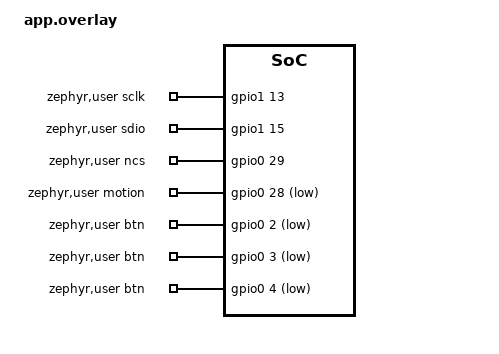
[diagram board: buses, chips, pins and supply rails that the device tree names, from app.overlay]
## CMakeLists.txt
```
# マウス側（Seeed XIAO nRF52840）：PMW3610 + ボタン → ESB送信
cmake_minimum_required(VERSION 3.20.0)
find_package(Zephyr REQUIRED HINTS $ENV{ZEPHYR_BASE})
project(mouse_tx)

target_include_directories(app PRIVATE ${CMAKE_CURRENT_SOURCE_DIR}/../common)
target_sources(app PRIVATE src/main.c src/pmw3610_bb.c)
```

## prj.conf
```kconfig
# ---- 無線（ESB） ----
CONFIG_ESB=y
CONFIG_CLOCK_CONTROL=y
CONFIG_ESB_CLOCK_INIT=y

# ---- GPIO（センサはGPIOのビットバンで読む／ボタン／LED） ----
CONFIG_GPIO=y

# ---- ログ（XIAOのUSBシリアル＝COMポートに出る） ----
CONFIG_LOG=y
CONFIG_LOG_MODE_DEFERRED=y
```

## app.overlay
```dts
/*
 * マウス側のピン割り当て（Hardware.md §2 と同じ配線）
 *   PMW3610基板 J1-5 SCLK → D8 (P1.13)
 *   PMW3610基板 J1-6 SDIO → D10(P1.15)
 *   PMW3610基板 J1-7 MOT  → D2 (P0.28)
 *   PMW3610基板 J1-8 NCS  → D3 (P0.29)
 *   左クリック  D0 (P0.02) / 右クリック D1 (P0.03) / 中クリック D4 (P0.04)
 *     → タクトスイッチの反対側はGND（内部プルアップ）。未接続でもOK
 */
/ {
	zephyr,user {
		sclk-gpios   = <&gpio1 13 GPIO_ACTIVE_HIGH>;
		sdio-gpios   = <&gpio1 15 GPIO_ACTIVE_HIGH>;
		ncs-gpios    = <&gpio0 29 GPIO_ACTIVE_HIGH>;
		motion-gpios = <&gpio0 28 (GPIO_ACTIVE_LOW | GPIO_PULL_UP)>;
		btn-gpios    = <&gpio0 2 (GPIO_ACTIVE_LOW | GPIO_PULL_UP)>,
			       <&gpio0 3 (GPIO_ACTIVE_LOW | GPIO_PULL_UP)>,
			       <&gpio0 4 (GPIO_ACTIVE_LOW | GPIO_PULL_UP)>;
	};
};

/* D8/D9/D10 は標準でSPI2に割り当てられているが、今回はGPIOで直接使う */
&spi2 {
	status = "disabled";
};
```

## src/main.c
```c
/*
 * マウス側（Seeed XIAO nRF52840）
 *   PMW3610の動き量とボタン状態を、ESBでドングルへ送る
 *
 *   ・1ms周期でMOTピンを確認し、動きがあれば動き量を読んで溜めておく
 *   ・前の送信が終わっていれば、溜まった分をまとめて1パケットで送る
 *   ・送信失敗（ドングルから応答なし）のときは、その分を戻して次回また送る
 *
 *   LED：緑＝送信成功のたびに点滅、赤＝送信失敗中（ドングルが見つからない）
 */
#include <zephyr/kernel.h>
#include <zephyr/drivers/gpio.h>
#include <zephyr/logging/log.h>
#include <zephyr/sys/byteorder.h>
#include <esb.h>

#include "pmw3610_bb.h"
#include "tb_protocol.h"

LOG_MODULE_REGISTER(mouse_tx, LOG_LEVEL_INF);

/* ===== 調整用 ===== */
#define SENSOR_CPI        800    /* 200〜3200（200刻み） */
#define INVERT_X          0      /* カーソルの左右が逆なら 1 */
#define INVERT_Y          0      /* カーソルの上下が逆なら 1 */
#define SWAP_XY           0      /* 縦横が入れ替わっているなら 1 */
#define LOOP_PERIOD_MS    1      /* センサ確認の周期 */
#define DEBOUNCE_COUNT    5      /* ボタンが同じ状態で何回続いたら確定するか（×周期） */
/* ================== */

#define USER_NODE DT_PATH(zephyr_user)

static const struct gpio_dt_spec btns[] = {
	GPIO_DT_SPEC_GET_BY_IDX(USER_NODE, btn_gpios, 0),   /* 左 */
	GPIO_DT_SPEC_GET_BY_IDX(USER_NODE, btn_gpios, 1),   /* 右 */
	GPIO_DT_SPEC_GET_BY_IDX(USER_NODE, btn_gpios, 2),   /* 中 */
};
static const struct gpio_dt_spec led_red   = GPIO_DT_SPEC_GET(DT_ALIAS(led0), gpios);
static const struct gpio_dt_spec led_green = GPIO_DT_SPEC_GET(DT_ALIAS(led1), gpios);

/* ---- ESBイベント（割り込みから呼ばれる）→ メインループへ結果だけ渡す ---- */
enum tx_state { TX_IDLE, TX_BUSY, TX_DONE_OK, TX_DONE_FAIL };
static atomic_t tx_state = ATOMIC_INIT(TX_IDLE);

static void on_esb_event(const struct esb_evt *event)
{
	struct esb_payload rx;

	switch (event->evt_id) {
	case ESB_EVENT_TX_SUCCESS:
		atomic_set(&tx_state, TX_DONE_OK);
		break;
	case ESB_EVENT_TX_FAILED:
		atomic_set(&tx_state, TX_DONE_FAIL);
		break;
	case ESB_EVENT_RX_RECEIVED:
		/* ACKに付いてくるデータは今は使わないので読み捨てる */
		while (esb_read_rx_payload(&rx) == 0) {
		}
		break;
	default:
		break;
	}
}

static int esb_setup(void)
{
	const uint8_t base0[4] = TB_BASE_ADDR_0;
	const uint8_t base1[4] = TB_BASE_ADDR_1;
	const uint8_t prefix[8] = TB_ADDR_PREFIX;
	struct esb_config config = ESB_DEFAULT_CONFIG;
	int err;

	config.protocol = ESB_PROTOCOL_ESB_DPL;
	config.mode = ESB_MODE_PTX;
	config.bitrate = ESB_BITRATE_2MBPS;
	config.retransmit_delay = 600;
	config.retransmit_count = 3;
	config.tx_mode = ESB_TXMODE_AUTO;
	config.selective_auto_ack = false;   /* 全パケットで受信確認（ACK）をもらう */
	config.event_handler = on_esb_event;

	err = esb_init(&config);
	if (!err) {
		err = esb_set_base_address_0(base0);
	}
	if (!err) {
		err = esb_set_base_address_1(base1);
	}
	if (!err) {
		err = esb_set_prefixes(prefix, ARRAY_SIZE(prefix));
	}
	if (!err) {
		err = esb_set_rf_channel(TB_RF_CHANNEL);
	}
	return err;
}

static int16_t clamp16(int32_t v)
{
	if (v > INT16_MAX) {
		return INT16_MAX;
	}
	if (v < INT16_MIN) {
		return INT16_MIN;
	}
	return (int16_t)v;
}

int main(void)
{
	int err;
	int32_t acc_dx = 0, acc_dy = 0;          /* まだ送っていない動き量 */
	int16_t inflight_dx = 0, inflight_dy = 0; /* 送信中のパケットの動き量 */
	uint8_t btn_stable = 0, btn_last_raw = 0, btn_sent = 0xFF;
	uint8_t btn_count = 0;
	uint8_t seq = 0;
	bool link_ok = true;
	int64_t tx_start_ms = 0;
	int64_t next_tx_ms = 0;   /* 送信失敗中は100msおきにだけ再送する */

	LOG_INF("Trackball mouse (XIAO nRF52840 / ESB PTX) start");

	gpio_pin_configure_dt(&led_red, GPIO_OUTPUT_INACTIVE);
	gpio_pin_configure_dt(&led_green, GPIO_OUTPUT_INACTIVE);
	for (size_t i = 0; i < ARRAY_SIZE(btns); i++) {
		gpio_pin_configure_dt(&btns[i], GPIO_INPUT);
	}

	err = pmw3610_init(SENSOR_CPI);
	if (err) {
		LOG_ERR("PMW3610 init failed (%d). Check wiring / power.", err);
		gpio_pin_set_dt(&led_red, 1);     /* 赤点灯のまま停止 */
		return 0;
	}

	err = esb_setup();
	if (err) {
		LOG_ERR("ESB init failed (%d)", err);
		gpio_pin_set_dt(&led_red, 1);
		return 0;
	}
	LOG_INF("ESB ready, channel %d", TB_RF_CHANNEL);

	while (1) {
		/* ---- 1) センサ ---- */
		if (pmw3610_motion_pending()) {
			int16_t dx, dy;

			if (pmw3610_read_motion(&dx, &dy)) {
#if SWAP_XY
				int16_t t = dx; dx = dy; dy = t;
#endif
#if INVERT_X
				dx = -dx;
#endif
#if INVERT_Y
				dy = -dy;
#endif
				acc_dx += dx;
				acc_dy += dy;
			}
		}

		/* ---- 2) ボタン（簡易チャタリング除去） ---- */
		uint8_t raw = 0;

		for (size_t i = 0; i < ARRAY_SIZE(btns); i++) {
			if (gpio_pin_get_dt(&btns[i]) == 1) {
				raw |= BIT(i);
			}
		}
		if (raw == btn_last_raw) {
			if (btn_count < DEBOUNCE_COUNT) {
				btn_count++;
			} else {
				btn_stable = raw;
			}
		} else {
			btn_last_raw = raw;
			btn_count = 0;
		}

		/* ---- 3) 送信結果の処理 ---- */
		int st = atomic_get(&tx_state);

		/* 念のため：送信完了の通知が50ms来なければ失敗扱いにする */
		if (st == TX_BUSY && (k_uptime_get() - tx_start_ms) > 50) {
			atomic_cas(&tx_state, TX_BUSY, TX_DONE_FAIL);
			st = atomic_get(&tx_state);
		}

		if (st == TX_DONE_OK) {
			inflight_dx = inflight_dy = 0;
			if (!link_ok) {
				LOG_INF("Link recovered");
				link_ok = true;
				gpio_pin_set_dt(&led_red, 0);
			}
			gpio_pin_toggle_dt(&led_green);
			atomic_set(&tx_state, TX_IDLE);
		} else if (st == TX_DONE_FAIL) {
			/* 届かなかった分は戻して、次のパケットでまとめて送る */
			acc_dx += inflight_dx;
			acc_dy += inflight_dy;
			inflight_dx = inflight_dy = 0;
			btn_sent = 0xFF;                  /* ボタン状態も送り直す */
			(void)esb_flush_tx();
			next_tx_ms = k_uptime_get() + 100;
			if (link_ok) {
				LOG_WRN("TX failed (dongle not responding?)");
				link_ok = false;
				gpio_pin_set_dt(&led_red, 1);
			}
			atomic_set(&tx_state, TX_IDLE);
		}

		/* ---- 4) 送信 ---- */
		if (atomic_get(&tx_state) == TX_IDLE && k_uptime_get() >= next_tx_ms &&
		    (acc_dx != 0 || acc_dy != 0 || btn_stable != btn_sent)) {
			struct esb_payload pkt = {
				.pipe = TB_PIPE,
				.length = TB_PKT_LEN,
				.noack = false,
			};

			inflight_dx = clamp16(acc_dx);
			inflight_dy = clamp16(acc_dy);
			acc_dx -= inflight_dx;
			acc_dy -= inflight_dy;

			pkt.data[0] = TB_PKT_TYPE_MOUSE;
			pkt.data[1] = btn_stable;
			sys_put_le16((uint16_t)inflight_dx, &pkt.data[2]);
			sys_put_le16((uint16_t)inflight_dy, &pkt.data[4]);
			pkt.data[6] = 0;
			pkt.data[7] = seq++;

			atomic_set(&tx_state, TX_BUSY);
			tx_start_ms = k_uptime_get();
			err = esb_write_payload(&pkt);
			if (err) {
				/* FIFOが詰まっている等：戻して次回 */
				acc_dx += inflight_dx;
				acc_dy += inflight_dy;
				inflight_dx = inflight_dy = 0;
				(void)esb_flush_tx();
				atomic_set(&tx_state, TX_IDLE);
			} else {
				btn_sent = btn_stable;
			}
		}

		k_msleep(LOOP_PERIOD_MS);
	}
	return 0;
}
```

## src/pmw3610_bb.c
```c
/*
 * PMW3610 3線SPI（GPIOビットバン）
 *   SPI Mode 3（CPOL=1, CPHA=1）、MSB first、書き込みはアドレスbit7=1
 *   レジスタと初期化手順は Zephyr drivers/input/input_pmw3610.c に準拠
 */
#include "pmw3610_bb.h"

#include <errno.h>
#include <zephyr/kernel.h>
#include <zephyr/drivers/gpio.h>
#include <zephyr/logging/log.h>

LOG_MODULE_REGISTER(pmw3610_bb, LOG_LEVEL_INF);

#define USER_NODE DT_PATH(zephyr_user)

static const struct gpio_dt_spec sclk = GPIO_DT_SPEC_GET(USER_NODE, sclk_gpios);
static const struct gpio_dt_spec sdio = GPIO_DT_SPEC_GET(USER_NODE, sdio_gpios);
static const struct gpio_dt_spec ncs  = GPIO_DT_SPEC_GET(USER_NODE, ncs_gpios);
static const struct gpio_dt_spec mot  = GPIO_DT_SPEC_GET(USER_NODE, motion_gpios);

/* ---- レジスタ ---- */
#define REG_PROD_ID         0x00   /* 期待値 0x3E */
#define REG_REV_ID          0x01
#define REG_MOTION          0x02
#define REG_DELTA_X_L       0x03
#define REG_DELTA_Y_L       0x04
#define REG_DELTA_XY_H      0x05
#define REG_PERFORMANCE     0x11
#define REG_RUN_DOWNSHIFT   0x1B
#define REG_REST1_RATE      0x1C
#define REG_REST1_DOWNSHIFT 0x1D
#define REG_OBSERVATION1    0x2D
#define REG_POWER_UP_RESET  0x3A
#define REG_SPI_CLK_ON_REQ  0x41
#define REG_SPI_PAGE        0x7F   /* page0⇔page1 切替 */
#define REG_RES_STEP        0x05   /* page1 */

#define PRODUCT_ID          0x3E
#define CLK_ON              0xBA
#define CLK_OFF             0xB5
#define MOTION_MOT          BIT(7)

/* ---- ビットバンSPI ---- */
static inline void half_period(void)
{
	k_busy_wait(1);
}

static void send_byte(uint8_t v)
{
	gpio_pin_configure_dt(&sdio, GPIO_OUTPUT);
	for (int i = 7; i >= 0; i--) {
		gpio_pin_set_dt(&sclk, 0);          /* 立下りでデータを変える */
		gpio_pin_set_dt(&sdio, (v >> i) & 1);
		half_period();
		gpio_pin_set_dt(&sclk, 1);          /* 立上りでセンサが取り込む */
		half_period();
	}
}

static uint8_t recv_byte(void)
{
	uint8_t v = 0;

	gpio_pin_configure_dt(&sdio, GPIO_INPUT);
	for (int i = 7; i >= 0; i--) {
		gpio_pin_set_dt(&sclk, 0);          /* センサが立下りで出力 */
		half_period();
		gpio_pin_set_dt(&sclk, 1);          /* 立上りで読む */
		v |= (uint8_t)((gpio_pin_get_dt(&sdio) & 1) << i);
		half_period();
	}
	return v;
}

static uint8_t read_reg(uint8_t addr)
{
	uint8_t v;

	gpio_pin_set_dt(&ncs, 0);
	send_byte(addr & 0x7F);
	k_busy_wait(5);                             /* アドレス→データ間ウェイト */
	v = recv_byte();
	gpio_pin_set_dt(&ncs, 1);
	k_busy_wait(20);
	return v;
}

static void write_reg(uint8_t addr, uint8_t val)
{
	gpio_pin_set_dt(&ncs, 0);
	send_byte(addr | 0x80);
	send_byte(val);
	gpio_pin_set_dt(&ncs, 1);
	k_busy_wait(50);
}

static void clk_on(void)
{
	write_reg(REG_SPI_CLK_ON_REQ, CLK_ON);
	k_busy_wait(300);
}

static void clk_off(void)
{
	write_reg(REG_SPI_CLK_ON_REQ, CLK_OFF);
}

static void set_cpi(uint16_t cpi)
{
	uint8_t v;

	if (cpi < 200) {
		cpi = 200;
	} else if (cpi > 3200) {
		cpi = 3200;
	}

	clk_on();
	write_reg(REG_SPI_PAGE, 0xFF);              /* page1へ */
	v = read_reg(REG_RES_STEP);
	v = (v & ~0x1F) | (uint8_t)(cpi / 200);
	write_reg(REG_RES_STEP, v);
	write_reg(REG_SPI_PAGE, 0x00);              /* page0へ戻す */
	clk_off();
}

static int16_t sext12(uint16_t v)
{
	return (v & 0x800) ? (int16_t)(v | 0xF000) : (int16_t)v;
}

int pmw3610_init(uint16_t cpi)
{
	uint8_t pid, rev, obs;

	if (!gpio_is_ready_dt(&sclk) || !gpio_is_ready_dt(&sdio) ||
	    !gpio_is_ready_dt(&ncs) || !gpio_is_ready_dt(&mot)) {
		return -ENODEV;
	}

	gpio_pin_configure_dt(&ncs, GPIO_OUTPUT_HIGH);
	gpio_pin_configure_dt(&sclk, GPIO_OUTPUT_HIGH);  /* Mode3: アイドルHigh */
	gpio_pin_configure_dt(&sdio, GPIO_INPUT);
	gpio_pin_configure_dt(&mot, GPIO_INPUT);
	k_msleep(50);                                     /* 電源投入後の待ち */

	write_reg(REG_POWER_UP_RESET, 0x5A);              /* ソフトリセット */
	k_msleep(10);

	pid = read_reg(REG_PROD_ID);
	rev = read_reg(REG_REV_ID);
	LOG_INF("PMW3610 Product ID=0x%02X (expect 0x3E), Rev ID=0x%02X", pid, rev);
	if (pid != PRODUCT_ID) {
		return -ENODEV;
	}

	clk_on();
	write_reg(REG_OBSERVATION1, 0x00);
	k_msleep(10);
	obs = read_reg(REG_OBSERVATION1);
	LOG_INF("OBSERVATION1=0x%02X (low nibble must be 0xF)", obs);
	if ((obs & 0x0F) != 0x0F) {
		clk_off();
		return -EIO;
	}

	for (uint8_t r = REG_MOTION; r <= REG_DELTA_XY_H; r++) {
		(void)read_reg(r);                        /* 溜まった動き量をクリア */
	}

	write_reg(REG_PERFORMANCE, 0x0D);
	write_reg(REG_RUN_DOWNSHIFT, 0x04);
	write_reg(REG_REST1_RATE, 0x04);
	write_reg(REG_REST1_DOWNSHIFT, 0x0F);
	clk_off();

	set_cpi(cpi);
	LOG_INF("PMW3610 init OK, CPI=%u", cpi);
	return 0;
}

bool pmw3610_motion_pending(void)
{
	return gpio_pin_get_dt(&mot) == 1;                /* Active Low → 1=動きあり */
}

bool pmw3610_read_motion(int16_t *dx, int16_t *dy)
{
	uint8_t m = read_reg(REG_MOTION);                 /* 先にMOTIONを読む（Δがラッチされる） */

	if (!(m & MOTION_MOT)) {
		return false;
	}

	uint8_t xl = read_reg(REG_DELTA_X_L);
	uint8_t yl = read_reg(REG_DELTA_Y_L);
	uint8_t xyh = read_reg(REG_DELTA_XY_H);

	*dx = sext12((uint16_t)(((xyh << 4) & 0xF00) | xl));
	*dy = sext12((uint16_t)(((xyh << 8) & 0xF00) | yl));
	return true;
}
```

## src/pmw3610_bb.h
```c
/* PMW3610 3線SPI（GPIOビットバン）ドライバ
 * Phase 1でArduino版として動作確認済みの手順を、そのままZephyrに移植したもの */
#ifndef PMW3610_BB_H_
#define PMW3610_BB_H_

#include <stdbool.h>
#include <stdint.h>

/* 初期化。成功で0、失敗で負の値（-ENODEV: Product ID不一致 など） */
int pmw3610_init(uint16_t cpi);

/* MOTピンがアクティブ（＝動きあり）ならtrue */
bool pmw3610_motion_pending(void);

/* 動き量を読み出す。動きがあればtrueを返し、dx/dyに12bitの符号付き値を入れる */
bool pmw3610_read_motion(int16_t *dx, int16_t *dy);

#endif
```
